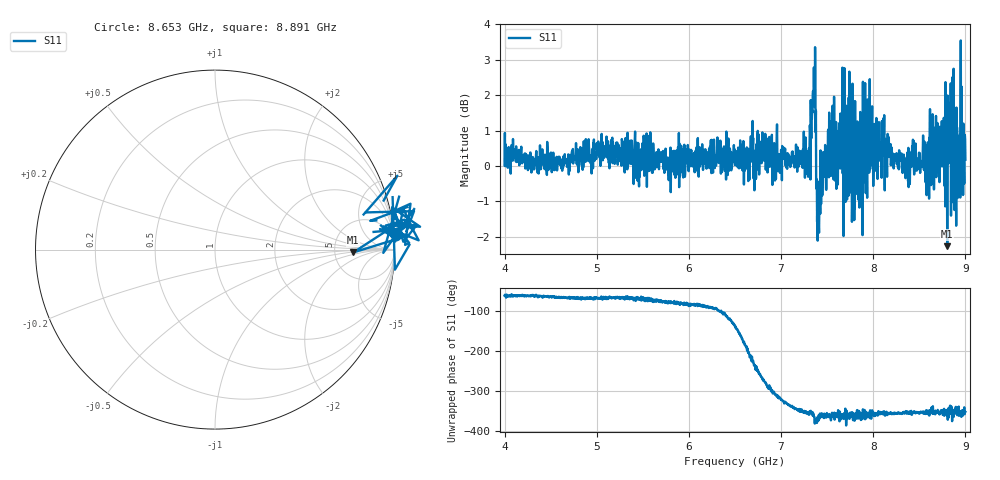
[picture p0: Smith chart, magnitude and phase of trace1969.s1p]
! Created with skrf 1.8.0 (http://scikit-rf.org).
# Hz S RI R 50.0
!freq ReS11 ImS11
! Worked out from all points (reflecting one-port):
!   1601 points, 4 GHz to 9 GHz, reference 50 ohm
!   lowest |S11| = -2.3 dB at 8.803 GHz (marker M1), VSWR 7.71, Z = 383 - j30.2 ohm
!   phase of S11 starts at -61 deg and turns -291 deg over the sweep
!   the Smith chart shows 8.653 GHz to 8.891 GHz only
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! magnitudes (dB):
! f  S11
! 4 GHz  0.0
! 4.625 GHz  -0.1
! 5.25 GHz  0.2
! 5.875 GHz  0.1
! 6.5 GHz  0.1
! 7.125 GHz  0.4
! 7.294 GHz  -0.3
! 7.347 GHz  2.1
! 7.369 GHz  3.4
! 7.4 GHz  -0.5
! 7.409 GHz  -1.7
! 7.522 GHz  1.5
! 7.591 GHz  1.1
! 7.669 GHz  -0.2
! 7.694 GHz  1.3
! 7.75 GHz  -0.6
! 7.769 GHz  -1.6
! 7.8 GHz  -1.2
! 7.909 GHz  1.4
! 7.962 GHz  2.5
! 8.375 GHz  0.0
! 8.581 GHz  -0.8
! 8.619 GHz  0.0
! 8.803 GHz  -2.3
! 8.834 GHz  1.8
! 8.919 GHz  -0.2
! 8.972 GHz  0.4
! 9 GHz  0.2
